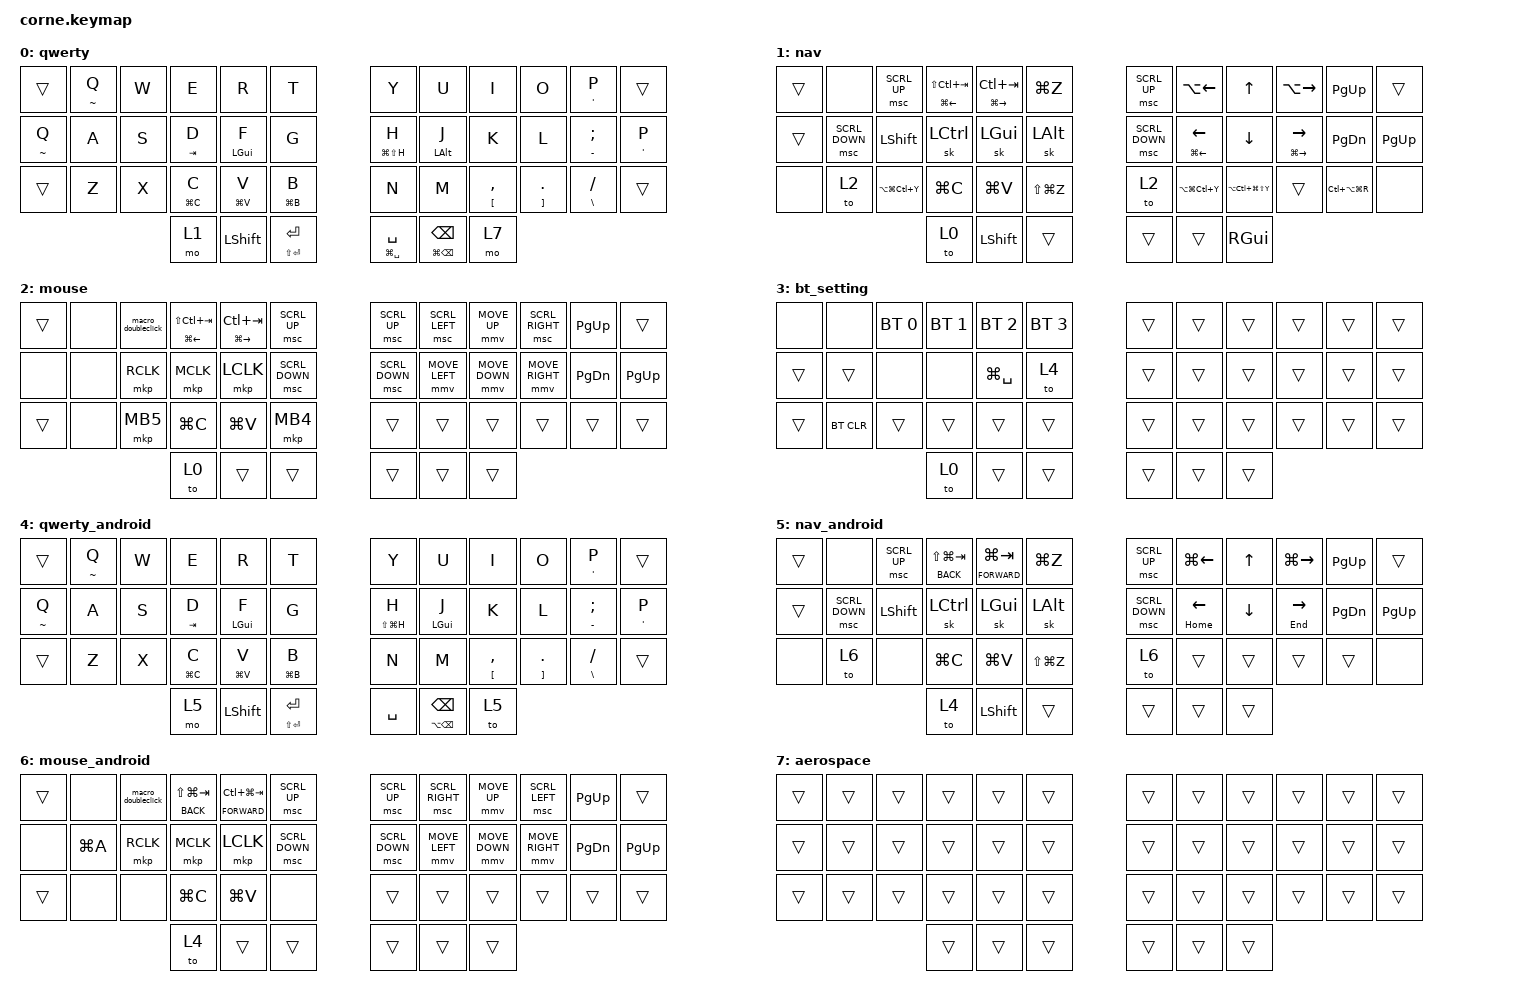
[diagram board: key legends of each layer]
/*
 * Copyright (c) 2020 The ZMK Contributors
 *
 * SPDX-License-Identifier: MIT
 */

#include <behaviors/mouse_keys.dtsi>
#include "mouse.dtsi"
#include <dt-bindings/zmk/mouse.h>
#include <behaviors.dtsi>
#include <dt-bindings/zmk/bt.h>
#include <dt-bindings/zmk/keys.h>
#include <dt-bindings/zmk/pointing.h>

&nice_view_spi { cs-gpios = <&pro_micro 10 GPIO_ACTIVE_HIGH>; };

/ {
    behaviors {
        gqt: gqt {
            compatible = "zmk,behavior-hold-tap";
            label = "GQT";
            bindings = <&kp>, <&kp>;

            #binding-cells = <2>;
            tapping-term-ms = <180>;
            quick-tap-ms = <120>;
            flavor = "tap-preferred";
        };
    };

    combos {
        compatible = "zmk,combos";

        combo_bt_setting {
            timeout-ms = <50>;
            bindings = <&to 3>;
            key-positions = <29 38 37>;
        };

        combo_esc {
            timeout-ms = <25>;
            bindings = <&kp ESCAPE>;
            key-positions = <2 1>;
        };

        combo_playpause {
            timeout-ms = <25>;
            bindings = <&kp C_PP>;
            key-positions = <5 6>;
        };

        combo_left_parenthesis {
            timeout-ms = <25>;
            bindings = <&kp LEFT_PARENTHESIS>;
            key-positions = <7 8>;
        };

        combo_right_parenthesis {
            timeout-ms = <25>;
            bindings = <&kp RIGHT_PARENTHESIS>;
            key-positions = <8 9>;
        };

        combo_vol_up {
            timeout-ms = <25>;
            bindings = <&kp C_VOLUME_UP>;
            key-positions = <27 28>;
        };

        combo_vol_down {
            timeout-ms = <25>;
            bindings = <&kp C_VOLUME_DOWN>;
            key-positions = <26 25>;
        };

        combo_mute {
            timeout-ms = <25>;
            bindings = <&kp C_MUTE>;
            key-positions = <26 27>;
        };

        combo_plus {
            timeout-ms = <25>;
            bindings = <&kp PLUS>;
            key-positions = <34 22>;
        };

        combo_minus {
            timeout-ms = <25>;
            bindings = <&kp MINUS>;
            key-positions = <22 21>;
        };

        combo_equal {
            timeout-ms = <25>;
            bindings = <&kp EQUAL>;
            key-positions = <34 33>;
        };

        combo_no1 {
            timeout-ms = <35>;
            bindings = <&kp NUMBER_1>;
            key-positions = <40 31>;
        };

        combo_no2 {
            timeout-ms = <35>;
            bindings = <&kp NUMBER_2>;
            key-positions = <40 32>;
        };

        combo_no3 {
            timeout-ms = <35>;
            bindings = <&kp NUMBER_3>;
            key-positions = <40 33>;
        };

        combo_no4 {
            timeout-ms = <35>;
            bindings = <&kp NUMBER_4>;
            key-positions = <40 19>;
        };

        combo_no5 {
            timeout-ms = <35>;
            bindings = <&kp NUMBER_5>;
            key-positions = <40 20>;
        };

        combo_no6 {
            timeout-ms = <35>;
            bindings = <&kp NUMBER_6>;
            key-positions = <21 40>;
        };

        combo_no7 {
            timeout-ms = <35>;
            bindings = <&kp NUMBER_7>;
            key-positions = <40 7>;
        };

        combo_no8 {
            timeout-ms = <35>;
            bindings = <&kp NUMBER_8>;
            key-positions = <8 40>;
        };

        combo_no9 {
            timeout-ms = <35>;
            bindings = <&kp NUMBER_9>;
            key-positions = <9 40>;
        };

        combo_no0 {
            timeout-ms = <35>;
            bindings = <&kp NUMBER_0>;
            key-positions = <40 22>;
        };

        combo_spaces_left {
            timeout-ms = <35>;
            bindings = <&kp F7>;
            key-positions = <1 13>;
        };

        combo_spaces_right {
            timeout-ms = <35>;
            bindings = <&kp F9>;
            key-positions = <5 17>;
        };

        combo_track_prev {
            timeout-ms = <35>;
            bindings = <&kp C_PREV>;
            key-positions = <25 26 27>;
        };

        combo_track_next {
            timeout-ms = <35>;
            bindings = <&kp C_NEXT>;
            key-positions = <28 27 26>;
        };

        combo_change_language {
            timeout-ms = <35>;
            bindings = <&kp LC(SPACE)>;
            key-positions = <16 17 18 19>;
        };

        combo_spaces {
            timeout-ms = <35>;
            bindings = <&kp F8>;
            key-positions = <2 4>;
        };

        combo_moom_toggle {
            timeout-ms = <35>;
            bindings = <&kp LA(LG(LC(E)))>;
            key-positions = <2 14>;
        };

        combo_skmr {
            timeout-ms = <50>;
            bindings = <&macro_skmr>;
            key-positions = <37 28 40 31>;
        };

        combo_backspace {
            bindings = <&kp BACKSPACE>;
            key-positions = <25 26 27 28>;
        };

        combo_cmd_w {
            bindings = <&kp LG(W)>;
            key-positions = <1 2 3 4>;
        };

        combo_mouse_click1 {
            bindings = <&mkp MB1>;
            key-positions = <16 4>;
        };

        combo_right_click {
            bindings = <&mkp RCLK>;
            key-positions = <13 14 15>;
        };

        combo_mouse_middle {
            bindings = <&mkp MCLK>;
            key-positions = <15 14 16>;
        };

        combo_double_click {
            bindings = <&macro_doubleclick>;
            key-positions = <15 3>;
        };

        combo_scroll_down {
            bindings = <&msc SCRL_DOWN>;
            key-positions = <17 15>;
        };

        combo_scroll_up {
            bindings = <&msc SCRL_UP>;
            key-positions = <17 3>;
        };

        combo_change_lang_android {
            bindings = <&kp LG(SPACE)>;
            key-positions = <4 5 6 7>;
            timeout-ms = <35>;
        };

        combo_homerow_scroll {
            bindings = <&kp LA(LC(LG(T)))>;
            key-positions = <9 22>;
        };

        combo_homerow_search {
            bindings = <&kp LG(LC(LA(W)))>;
            key-positions = <7 19>;
        };
    };

    macros {
        macro_skmr: macro_skmr {
            compatible = "zmk,behavior-macro";
            #binding-cells = <0>;
            bindings = <&none &kp LS(I) &kp SPACE &kp F &kp E &kp E &kp L &kp SPACE &kp L &kp I &kp K &kp E &kp SPACE &kp W &kp E &kp SPACE &kp H &kp A &kp V &kp E &kp SPACE &kp G &kp O &kp N &kp E &kp SPACE &kp P &kp A &kp S &kp T &kp SPACE &kp S &kp O &kp C &kp I &kp A &kp L &kp SPACE &kp N &kp O &kp R &kp M &kp S &kp SPACE &kp H &kp A &kp H &kp H &kp A &kp A &kp H &kp A &kp H &kp H &kp H>;
            label = "MACRO_SKMR";
        };

        macro_doubleclick: macro_doubleclick {
            compatible = "zmk,behavior-macro";
            #binding-cells = <0>;
            bindings = <&mkp MB1>, <&macro_tap>, <&mkp MB1>, <&macro_tap>;

            label = "MACRO_DOUBLECLICK";
        };

        macro_mouse_left_click: macro_mouse_left_click {
            compatible = "zmk,behavior-macro";
            #binding-cells = <0>;
            bindings =
                <&macro_press>,
                <&mkp MB1>,
                <&macro_pause_for_release>,
                <&macro_release>,
                <&mkp MB1>;

            label = "MACRO_MOUSE_LEFT_CLICK";
        };
    };

    keymap {
        compatible = "zmk,keymap";

        qwerty {
            bindings = <
&trans        &gqt TILDE Q  &kp W  &kp E         &kp R            &kp T                   &kp Y                 &kp U                    &kp I                    &kp O                      &gqt SQT P            &trans
&gqt TILDE Q  &kp A         &kp S  &gqt TAB D    &gqt LEFT_GUI F  &kp G                   &gqt LG(LS(H)) H      &gqt LEFT_ALT J          &kp K                    &kp L                      &gqt MINUS SEMICOLON  &gqt SQT P
&trans        &kp Z         &kp X  &gqt LG(C) C  &gqt LG(V) V     &gqt LG(B) B            &kp N                 &kp M                    &gqt LEFT_BRACKET COMMA  &gqt RIGHT_BRACKET PERIOD  &gqt BACKSLASH SLASH  &trans
                                   &mo 1         &kp LSHFT        &gqt LS(ENTER) ENTER    &gqt LG(SPACE) SPACE  &gqt LG(BSPC) BACKSPACE  &mo 7
            >;
        };

        nav {
            bindings = <
&trans  &none           &msc SCRL_UP       &gqt LG(LEFT) LS(LC(TAB))  &gqt LG(RIGHT) LC(TAB)  &kp LG(Z)        &msc SCRL_UP    &kp LA(LEFT)        &kp UP                 &kp LA(RIGHT)         &kp PAGE_UP        &trans
&trans  &msc SCRL_DOWN  &kp LEFT_SHIFT     &sk LCTRL                  &sk LEFT_GUI            &sk LEFT_ALT     &msc SCRL_DOWN  &gqt LG(LEFT) LEFT  &kp DOWN               &gqt LG(RIGHT) RIGHT  &kp PAGE_DOWN      &kp PAGE_UP
&none   &to 2           &kp LA(LG(LC(Y)))  &kp LG(C)                  &kp LG(V)               &kp LS(LG(Z))    &to 2           &kp LA(LG(LC(Y)))   &kp LA(LC(LG(LS(Y))))  &trans                &kp LC(LA(LG(R)))  &none
                                           &to 0                      &kp LSHFT               &trans           &trans          &trans              &kp RIGHT_GUI
            >;
        };

        mouse {
            bindings = <
&trans  &none  &macro_doubleclick  &gqt LG(LEFT) LS(LC(TAB))  &gqt LG(RIGHT) LC(TAB)  &msc SCRL_UP      &msc SCRL_UP    &msc SCRL_LEFT  &mmv MOVE_UP    &msc SCRL_RIGHT  &kp PAGE_UP    &trans
&none   &none  &mkp RCLK           &mkp MCLK                  &mkp LCLK               &msc SCRL_DOWN    &msc SCRL_DOWN  &mmv MOVE_LEFT  &mmv MOVE_DOWN  &mmv MOVE_RIGHT  &kp PAGE_DOWN  &kp PAGE_UP
&trans  &none  &mkp MB5            &kp LG(C)                  &kp LG(V)               &mkp MB4          &trans          &trans          &trans          &trans           &trans         &trans
                                   &to 0                      &trans                  &trans            &trans          &trans          &trans
            >;
        };

        bt_setting {
            bindings = <
&none   &none       &bt BT_SEL 0  &bt BT_SEL 1  &bt BT_SEL 2   &bt BT_SEL 3    &trans  &trans  &trans  &trans  &trans  &trans
&trans  &trans      &none         &none         &kp LG(SPACE)  &to 4           &trans  &trans  &trans  &trans  &trans  &trans
&trans  &bt BT_CLR  &trans        &trans        &trans         &trans          &trans  &trans  &trans  &trans  &trans  &trans
                                  &to 0         &trans         &trans          &trans  &trans  &trans
            >;
        };

        qwerty_android {
            bindings = <
&trans        &gqt TILDE Q  &kp W  &kp E         &kp R            &kp T                   &kp Y             &kp U                    &kp I                    &kp O                      &gqt SQT P            &trans
&gqt TILDE Q  &kp A         &kp S  &gqt TAB D    &gqt LEFT_GUI F  &kp G                   &gqt LS(LG(H)) H  &gqt LEFT_GUI J          &kp K                    &kp L                      &gqt MINUS SEMICOLON  &gqt SQT P
&trans        &kp Z         &kp X  &gqt LG(C) C  &gqt LG(V) V     &gqt LG(B) B            &kp N             &kp M                    &gqt LEFT_BRACKET COMMA  &gqt RIGHT_BRACKET PERIOD  &gqt BACKSLASH SLASH  &trans
                                   &mo 5         &kp LSHFT        &gqt LS(ENTER) ENTER    &kp SPACE         &gqt LA(BSPC) BACKSPACE  &to 5
            >;
        };

        nav_android {
            bindings = <
&trans  &none           &msc SCRL_UP    &gqt K_BACK LS(LG(TAB))  &gqt K_FORWARD LG(TAB)  &kp LG(Z)        &msc SCRL_UP    &kp LG(LEFT)    &kp UP    &kp LG(RIGHT)   &kp PAGE_UP    &trans
&trans  &msc SCRL_DOWN  &kp LEFT_SHIFT  &sk LCTRL                &sk LEFT_GUI            &sk LEFT_ALT     &msc SCRL_DOWN  &gqt HOME LEFT  &kp DOWN  &gqt END RIGHT  &kp PAGE_DOWN  &kp PAGE_UP
&none   &to 6           &none           &kp LG(C)                &kp LG(V)               &kp LS(LG(Z))    &to 6           &trans          &trans    &trans          &trans         &none
                                        &to 4                    &kp LSHFT               &trans           &trans          &trans          &trans
            >;
        };

        mouse_android {
            bindings = <
&trans  &none      &macro_doubleclick  &gqt K_BACK LS(LG(TAB))  &gqt K_FORWARD LC(LG(TAB))  &msc SCRL_UP      &msc SCRL_UP    &msc SCRL_RIGHT  &mmv MOVE_UP    &msc SCRL_LEFT   &kp PAGE_UP    &trans
&none   &kp LG(A)  &mkp RCLK           &mkp MCLK                &mkp LCLK                   &msc SCRL_DOWN    &msc SCRL_DOWN  &mmv MOVE_LEFT   &mmv MOVE_DOWN  &mmv MOVE_RIGHT  &kp PAGE_DOWN  &kp PAGE_UP
&trans  &none      &none               &kp LG(C)                &kp LG(V)                   &none             &trans          &trans           &trans          &trans           &trans         &trans
                                       &to 4                    &trans                      &trans            &trans          &trans           &trans
            >;
        };

        aerospace {
            bindings = <
&trans  &trans  &trans  &trans  &trans  &trans    &trans  &trans  &trans  &trans  &trans  &trans
&trans  &trans  &trans  &trans  &trans  &trans    &trans  &trans  &trans  &trans  &trans  &trans
&trans  &trans  &trans  &trans  &trans  &trans    &trans  &trans  &trans  &trans  &trans  &trans
                        &trans  &trans  &trans    &trans  &trans  &trans
            >;
        };
    };
};
